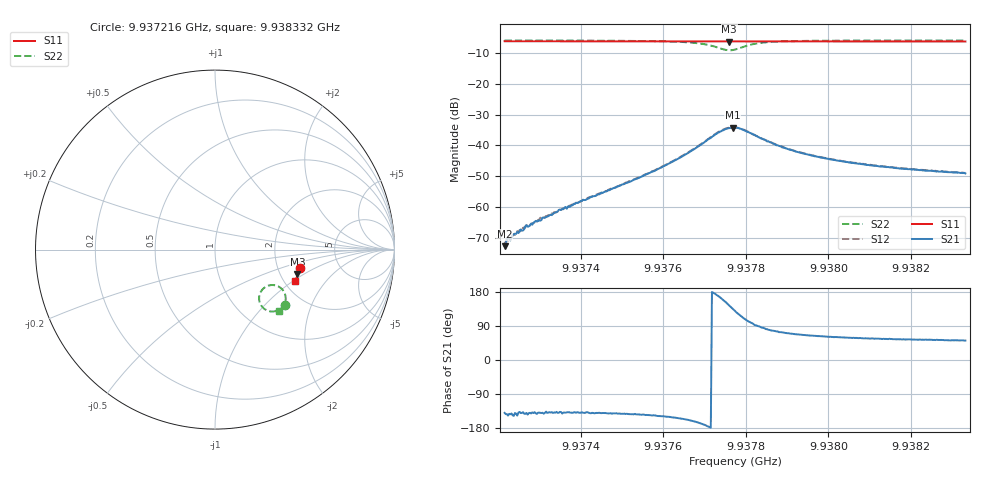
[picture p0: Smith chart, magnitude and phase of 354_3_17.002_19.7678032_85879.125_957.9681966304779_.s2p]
#  HZ  S  RI  R  50.00
! Rohde & Schwarz Vector Network Analyzer
! Rohde-Schwarz,ZNB20-2Port,1311601062101988,3.16
! Created: UTC 3/20/2024, 11:07:58 PM
! freq[Hz]  re:S11  im:S11  re:S21  im:S21  re:S12  im:S12  re:S22  im:S22
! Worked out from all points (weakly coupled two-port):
!   401 points, 9.937216 GHz to 9.938332 GHz, reference 50 ohm
!   highest |S21| = -34.22 dB at 9.937768 GHz (marker M1); lowest = -72.6 dB at 9.937216 GHz (marker M2)
!   lowest |S11| = -6.4 dB at 9.93776 GHz (marker M3), VSWR 2.84, Z = 124 - j44.1 ohm
!   |S11| at or under -10 dB: nowhere
!   |S22| runs from -9.2 to -6.0 dB; largest |S21 - S12| = 0.00076
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9.9372157e9  0.4728 -0.1025  -0.000179 -0.000153  -0.000207 -0.000157  0.3892 -0.3111
9.9372269e9  0.4726 -0.1034  -0.000247 -0.000192  -0.000249 -0.000185  0.3885 -0.3119
9.9372408e9  0.4724 -0.1044  -0.000287 -0.000241  -0.00029 -0.000208  0.3875 -0.3129
9.9372631e9  0.4719 -0.1058  -0.000348 -0.000273  -0.000361 -0.00031  0.3859 -0.3145
9.9372715e9  0.4717 -0.1064  -0.000393 -0.000285  -0.000369 -0.000316  0.3853 -0.315
9.9372966e9  0.4712 -0.1081  -0.000453 -0.000392  -0.000472 -0.000411  0.3836 -0.3167
9.9374027e9  0.469 -0.1152  -0.00094 -0.000845  -0.000953 -0.000845  0.3741 -0.3251
9.9375199e9  0.4665 -0.123  -0.00208 -0.00158  -0.00214 -0.00157  0.3586 -0.335
9.9375897e9  0.4647 -0.1276  -0.00358 -0.00225  -0.00366 -0.00225  0.3428 -0.3416
9.9376483e9  0.4631 -0.1317  -0.00619 -0.00282  -0.00635 -0.00276  0.3186 -0.3452
9.9376985e9  0.4615 -0.135  -0.011 -0.00185  -0.0113 -0.0017  0.2795 -0.3332
9.9377348e9  0.4599 -0.1368  -0.0159 0.00347  -0.0163 0.00394  0.247 -0.2854
9.9377599e9  0.459 -0.1375  -0.0154 0.0113  -0.0155 0.0118  0.2611 -0.2258
9.9377683e9  0.4592 -0.1377  -0.0138 0.0137  -0.0136 0.0143  0.2779 -0.2102
9.9377739e9  0.4591 -0.1378  -0.0122 0.0148  -0.012 0.0155  0.2911 -0.203
9.9377906e9  0.4592 -0.1388  -0.0075 0.0167  -0.00704 0.0169  0.3315 -0.1983
9.9378325e9  0.4593 -0.1414  0.000294 0.0135  0.000804 0.0136  0.385 -0.2364
9.9378939e9  0.458 -0.146  0.00282 0.00866  0.00301 0.00868  0.3937 -0.2799
9.9379609e9  0.4566 -0.1507  0.00297 0.00617  0.00312 0.00618  0.3878 -0.3026
9.9380418e9  0.4545 -0.156  0.00278 0.00463  0.00292 0.00465  0.3801 -0.3178
9.9381479e9  0.4517 -0.1628  0.00248 0.00368  0.0026 0.00363  0.3711 -0.3302
9.9383321e9  0.4464 -0.1746  0.0022 0.00275  0.00228 0.0028  0.358 -0.3447
